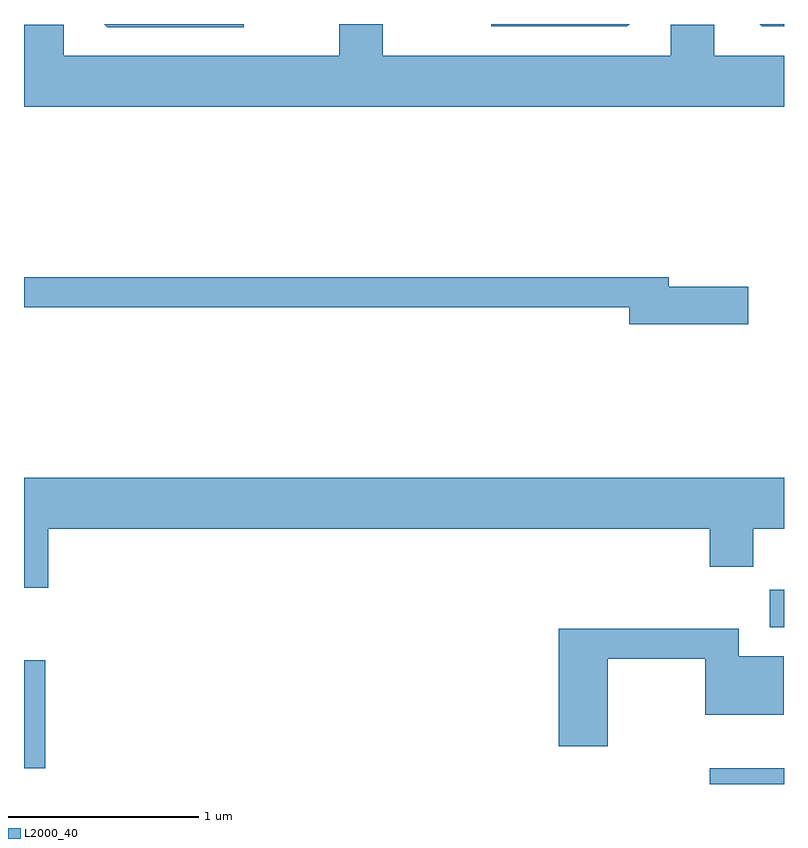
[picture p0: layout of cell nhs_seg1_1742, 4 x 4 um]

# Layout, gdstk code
import gdstk
lib = gdstk.Library(unit=1e-6, precision=1e-09)
def R(c, l, rs):  # rectangles x0, y0, x1, y1
    for r in rs: c.add(gdstk.rectangle(r[:2], r[2:], *l))
def P(c, l, *ps):  # polygons
    for p in ps: c.add(gdstk.Polygon(p, *l))
L2000_40 = (2000, 40)

nhs_seg1_1742 = lib.new_cell('nhs_seg1_1742')
R(nhs_seg1_1742, L2000_40, [(241.221,973.712,241.611,973.794), (237.611,973.796,237.724,974.364), (241.536,974.536,241.611,974.734)])
P(nhs_seg1_1742, L2000_40, [(241.611,977.544),(241.244,977.544),(241.244,977.709),(241.016,977.709),(241.016,977.544),(239.499,977.544),(239.499,977.712),(239.271,977.712),(239.271,977.544),(237.819,977.544),(237.819,977.709),(237.611,977.709),(237.611,977.276),(241.611,977.276)],
  [(240.798,977.712),(240.071,977.712),(240.071,977.701),(240.787,977.701)],
  [(241.611,977.712),(241.483,977.712),(241.494,977.701),(241.611,977.701)],
  [(238.768,977.712),(238.033,977.712),(238.049,977.696),(238.768,977.696)],
  [(241.424,976.329),(241.004,976.329),(241.004,976.379),(237.611,976.379),(237.611,976.221),(240.796,976.221),(240.796,976.131),(241.424,976.131)],
  [(237.739,975.056),(241.221,975.056),(241.221,974.856),(241.449,974.856),(241.449,975.056),(241.611,975.056),(241.611,975.324),(237.611,975.324),(237.611,974.746),(237.739,974.746)],
  [(240.684,974.371),(241.196,974.371),(241.196,974.076),(241.609,974.076),(241.609,974.384),(241.374,974.384),(241.374,974.529),(240.426,974.529),(240.426,973.911),(240.684,973.911)])

lib.write_gds('nhs_seg1_1742.gds')
